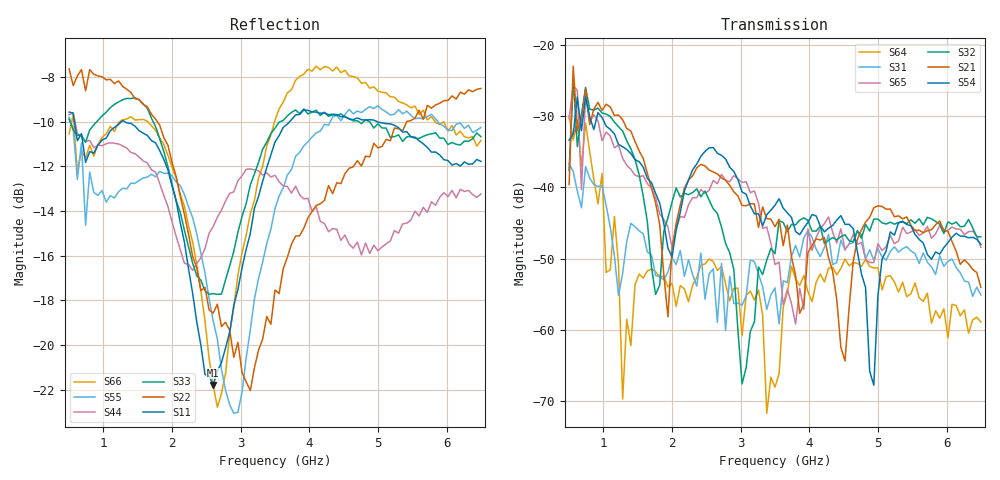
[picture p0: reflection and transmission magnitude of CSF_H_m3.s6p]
!Keysight Technologies,M9804A,MY58100912,A.14.10.03
!Date: Thursday, April 27, 2023 10:28:33
!Correction: S11(C  6-Port  )
!S12(C  6-Port  )
!S13(C  6-Port  )
!S14(C  6-Port  )
!S15(C  6-Port  )
!S16(C  6-Port  )
!S21(C  6-Port  )
!S22(C  6-Port  )
!S23(C  6-Port  )
!S24(C  6-Port  )
!S25(C  6-Port  )
!S26(C  6-Port  )
!S31(C  6-Port  )
!S32(C  6-Port  )
!S33(C  6-Port  )
!S34(C  6-Port  )
!S35(C  6-Port  )
!S36(C  6-Port  )
!S41(C  6-Port  )
!S42(C  6-Port  )
!S43(C  6-Port  )
!S44(C  6-Port  )
!S45(C  6-Port  )
!S46(C  6-Port  )
!S51(C  6-Port  )
!S52(C  6-Port  )
!S53(C  6-Port  )
!S54(C  6-Port  )
!S55(C  6-Port  )
!S56(C  6-Port  )
!S61(C  6-Port  )
!S62(C  6-Port  )
!S63(C  6-Port  )
!S64(C  6-Port  )
!S65(C  6-Port  )
!S66(C  6-Port  )
!S6P File: Measurement: :
# Hz S  RI  R 50
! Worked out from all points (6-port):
!   101 points, 500 MHz to 6.5 GHz, reference 50 ohm
!   strongest paths, dB at 500 MHz, 2 GHz, 3.5 GHz, 5 GHz, 6.5 GHz:
!     S54: -33.4, -49.8, -42.5, -55.1, -48.0
!     S21: -39.6, -48.5, -45.5, -42.6, -54.0
!     S32: -37.6, -42.1, -49.3, -44.5, -46.9
!     S65: -30.4, -48.5, -50.8, -47.9, -48.4
!     S31: -36.7, -49.9, -54.1, -48.6, -55.1
!     S64: -30.0, -53.4, -68.0, -51.3, -58.9
!   lowest |S11| = -21.8 dB at 2.6 GHz (marker M1), VSWR 1.18, Z = 42.7 + j1.93 ohm
!   |S11| at or under -10 dB: 578.6 MHz to 1.262 GHz (683.7 MHz wide, 74.3 % of centre); 1.31 GHz to 3.713 GHz (2.403 GHz wide, 95.7 % of centre); 4.989 GHz to end of sweep
